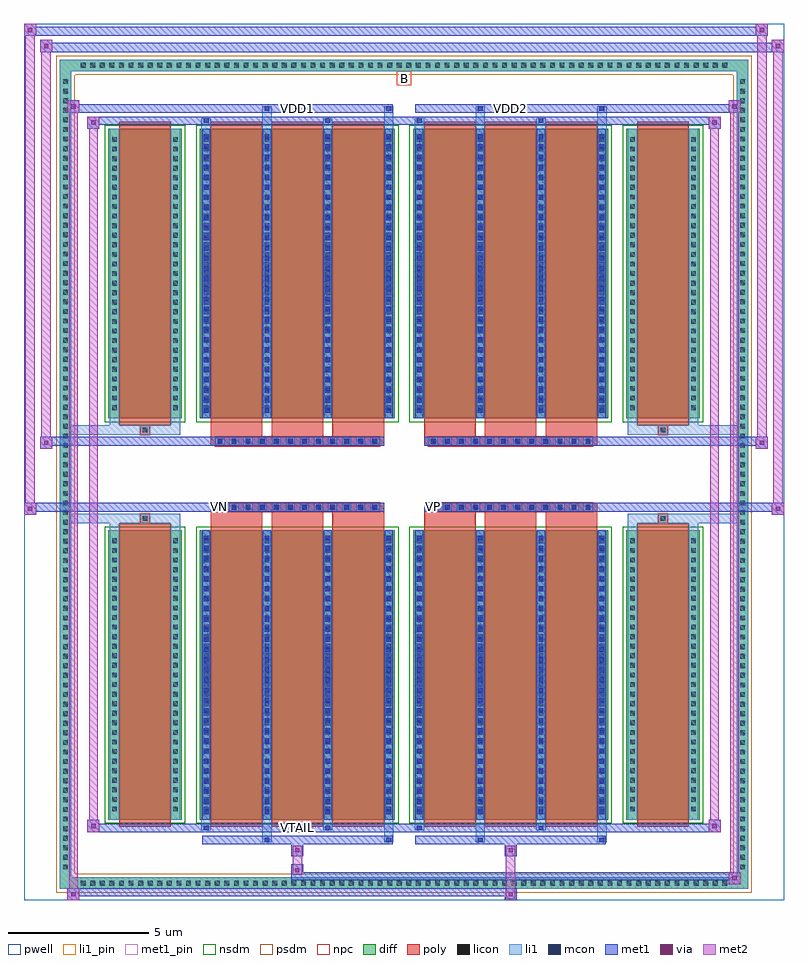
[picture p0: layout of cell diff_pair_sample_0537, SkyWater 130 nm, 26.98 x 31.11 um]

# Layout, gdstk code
import gdstk
lib = gdstk.Library(unit=1e-6, precision=5e-09)
def R(c, l, rs):  # rectangles x0, y0, x1, y1
    for r in rs: c.add(gdstk.rectangle(r[:2], r[2:], *l))
def A(c, l, x, y, w, h, nx, ny, dx, dy):  # array of equal rectangles
    R(c, l, [(x+i*dx, y+j*dy, x+i*dx+w, y+j*dy+h) for i in range(nx) for j in range(ny)])
def P(c, l, *ps):  # polygons
    for p in ps: c.add(gdstk.Polygon(p, *l))
pwell = (64, 44)
diff = (65, 20)
poly = (66, 20)
licon = (66, 44)
li1_pin = (67, 16)
li1 = (67, 20)
mcon = (67, 44)
met1_pin = (68, 16)
met1 = (68, 20)
via = (68, 44)
met2 = (69, 20)
nsdm = (93, 44)
psdm = (94, 20)
npc = (95, 20)

diff_pair_sample_0537 = lib.new_cell('diff_pair_sample_0537')
R(diff_pair_sample_0537, pwell, [(-13.49,-15.12,13.49,15.99), (-10.81,-13.31,-0.01,-0.805), (0.01,-13.31,10.81,-0.805), (-10.81,0.805,-0.01,13.31), (0.01,0.805,10.81,13.31)])
A(diff_pair_sample_0537, diff, -11.595, -14.72, 0.41, 0.41, 68, 2, 0.34, 29.03)
A(diff_pair_sample_0537, diff, -12.22, -14.145, 0.41, 0.41, 1, 83, 0, 0.34)
A(diff_pair_sample_0537, diff, 11.81, -14.145, 0.41, 0.41, 1, 83, 0, 0.34)
R(diff_pair_sample_0537, diff, [(-11.595,-14.72,11.595,-14.31), (-12.22,-14.145,-11.81,14.145), (11.81,-14.145,12.22,14.145), (-10.5,-12.265,-7.89,-1.985), (-7.25,-12.265,-0.32,-1.985), (0.32,-12.265,7.25,-1.985), (7.89,-12.265,10.5,-1.985), (-10.5,1.985,-7.89,12.265), (-7.25,1.985,-0.32,12.265), (0.32,1.985,7.25,12.265), (7.89,1.985,10.5,12.265), (-11.595,14.31,11.595,14.72)])
P(diff_pair_sample_0537, diff, [(12.22,14.72),(-12.22,14.72),(-12.22,-14.31),(-11.81,-14.31),(-11.81,14.31),(11.81,14.31),(11.81,-14.31),(-11.81,-14.31),(-12.22,-14.31),(-12.22,-14.72),(12.22,-14.72)])
A(diff_pair_sample_0537, poly, -6.86, -12.515, 1.83, 10.78, 3, 2, 2.16, 14.25)
A(diff_pair_sample_0537, poly, 0.71, -12.515, 1.83, 10.78, 3, 2, 2.16, 14.25)
A(diff_pair_sample_0537, poly, -6.86, -1.735, 1.83, 0.4, 3, 2, 2.16, 3.07)
A(diff_pair_sample_0537, poly, 0.71, -1.735, 1.83, 0.4, 3, 2, 2.16, 3.07)
A(diff_pair_sample_0537, poly, -6.7, -1.335, 0.33, 0.33, 12, 2, 0.5, 2.34)
A(diff_pair_sample_0537, poly, 0.87, -1.335, 0.33, 0.33, 12, 2, 0.5, 2.34)
R(diff_pair_sample_0537, poly, [(-10.11,-12.515,-8.28,-1.735), (8.28,-12.515,10.11,-1.735), (-9.36,-1.735,-9.03,-1.405), (-9.36,-1.735,-9.03,-1.405), (9.03,-1.735,9.36,-1.405), (9.03,-1.735,9.36,-1.405), (-6.86,-1.335,-0.71,-1.005), (0.71,-1.335,6.86,-1.005), (-6.86,1.005,-0.71,1.335), (0.71,1.005,6.86,1.335), (-9.36,1.405,-9.03,1.735), (-9.36,1.405,-9.03,1.735), (9.03,1.405,9.36,1.735), (9.03,1.405,9.36,1.735), (-10.11,1.735,-8.28,12.515), (8.28,1.735,10.11,12.515)])
A(diff_pair_sample_0537, licon, -11.475, -14.6, 0.17, 0.17, 68, 2, 0.34, 29.03)
A(diff_pair_sample_0537, licon, -12.1, -14.025, 0.17, 0.17, 1, 83, 0, 0.34)
A(diff_pair_sample_0537, licon, 11.93, -14.025, 0.17, 0.17, 1, 83, 0, 0.34)
A(diff_pair_sample_0537, licon, -10.36, -11.97, 0.17, 0.17, 1, 29, 0, 0.34)
A(diff_pair_sample_0537, licon, -8.2, -11.97, 0.17, 0.17, 1, 29, 0, 0.34)
A(diff_pair_sample_0537, licon, -7.11, -11.97, 0.17, 0.17, 4, 29, 2.16, 0.34)
A(diff_pair_sample_0537, licon, 0.46, -11.97, 0.17, 0.17, 4, 29, 2.16, 0.34)
A(diff_pair_sample_0537, licon, 8.03, -11.97, 0.17, 0.17, 1, 29, 0, 0.34)
A(diff_pair_sample_0537, licon, 10.19, -11.97, 0.17, 0.17, 1, 29, 0, 0.34)
A(diff_pair_sample_0537, licon, -6.62, -1.255, 0.17, 0.17, 12, 2, 0.5, 2.34)
A(diff_pair_sample_0537, licon, 0.95, -1.255, 0.17, 0.17, 12, 2, 0.5, 2.34)
A(diff_pair_sample_0537, licon, -10.36, 2.28, 0.17, 0.17, 1, 29, 0, 0.34)
A(diff_pair_sample_0537, licon, -8.2, 2.28, 0.17, 0.17, 1, 29, 0, 0.34)
A(diff_pair_sample_0537, licon, -7.11, 2.28, 0.17, 0.17, 4, 29, 2.16, 0.34)
A(diff_pair_sample_0537, licon, 0.46, 2.28, 0.17, 0.17, 4, 29, 2.16, 0.34)
A(diff_pair_sample_0537, licon, 8.03, 2.28, 0.17, 0.17, 1, 29, 0, 0.34)
A(diff_pair_sample_0537, licon, 10.19, 2.28, 0.17, 0.17, 1, 29, 0, 0.34)
R(diff_pair_sample_0537, licon, [(-9.28,-1.655,-9.11,-1.485), (9.11,-1.655,9.28,-1.485), (-9.28,1.485,-9.11,1.655), (9.11,1.485,9.28,1.655)])
R(diff_pair_sample_0537, li1_pin, [(-0.25,13.81,0.25,14.31)])
A(diff_pair_sample_0537, li1, -11.555, -14.68, 0.33, 0.33, 68, 2, 0.34, 29.03)
A(diff_pair_sample_0537, li1, -12.18, -14.105, 0.33, 0.33, 1, 83, 0, 0.34)
A(diff_pair_sample_0537, li1, 11.85, -14.105, 0.33, 0.33, 1, 83, 0, 0.34)
A(diff_pair_sample_0537, li1, -7.19, -12.265, 0.33, 10.28, 4, 2, 2.16, 14.25)
A(diff_pair_sample_0537, li1, 0.38, -12.265, 0.33, 10.28, 4, 2, 2.16, 14.25)
A(diff_pair_sample_0537, li1, -7.11, -12.07, 0.17, 0.17, 4, 28, 2.16, 0.36)
A(diff_pair_sample_0537, li1, -7.11, -12.07, 0.17, 9.89, 4, 2, 2.16, 14.25)
A(diff_pair_sample_0537, li1, 0.46, -12.07, 0.17, 0.17, 4, 28, 2.16, 0.36)
A(diff_pair_sample_0537, li1, 0.46, -12.07, 0.17, 9.89, 4, 2, 2.16, 14.25)
A(diff_pair_sample_0537, li1, -10.44, -12.05, 0.33, 0.33, 1, 29, 0, 0.34)
A(diff_pair_sample_0537, li1, -8.28, -12.05, 0.33, 0.33, 1, 29, 0, 0.34)
A(diff_pair_sample_0537, li1, -7.19, -12.05, 0.33, 0.33, 4, 29, 2.16, 0.34)
A(diff_pair_sample_0537, li1, 0.38, -12.05, 0.33, 0.33, 4, 29, 2.16, 0.34)
A(diff_pair_sample_0537, li1, 7.95, -12.05, 0.33, 0.33, 1, 29, 0, 0.34)
A(diff_pair_sample_0537, li1, 10.11, -12.05, 0.33, 0.33, 1, 29, 0, 0.34)
A(diff_pair_sample_0537, li1, -6.7, -1.335, 0.33, 0.33, 12, 2, 0.5, 2.34)
A(diff_pair_sample_0537, li1, 0.87, -1.335, 0.33, 0.33, 12, 2, 0.5, 2.34)
A(diff_pair_sample_0537, li1, -7.11, 2.18, 0.17, 0.17, 4, 28, 2.16, 0.36)
A(diff_pair_sample_0537, li1, 0.46, 2.18, 0.17, 0.17, 4, 28, 2.16, 0.36)
A(diff_pair_sample_0537, li1, -10.44, 2.2, 0.33, 0.33, 1, 29, 0, 0.34)
A(diff_pair_sample_0537, li1, -8.28, 2.2, 0.33, 0.33, 1, 29, 0, 0.34)
A(diff_pair_sample_0537, li1, -7.19, 2.2, 0.33, 0.33, 4, 29, 2.16, 0.34)
A(diff_pair_sample_0537, li1, 0.38, 2.2, 0.33, 0.33, 4, 29, 2.16, 0.34)
A(diff_pair_sample_0537, li1, 7.95, 2.2, 0.33, 0.33, 1, 29, 0, 0.34)
A(diff_pair_sample_0537, li1, 10.11, 2.2, 0.33, 0.33, 1, 29, 0, 0.34)
R(diff_pair_sample_0537, li1, [(-12.22,-14.72,-11.81,-14.31), (-12.22,-14.72,-11.81,-14.31), (-11.81,-14.72,11.81,-14.31), (11.81,-14.72,12.22,-14.31), (11.81,-14.72,12.22,-14.31), (-12.22,-14.31,-11.81,14.31), (11.81,-14.31,12.22,14.31), (-5.03,-13.07,-4.7,-12.265), (-4.95,-13.07,-4.78,-12.9), (-0.71,-13.07,-0.38,-12.265), (-0.63,-13.07,-0.46,-12.9), (2.54,-13.07,2.87,-12.265), (2.62,-13.07,2.79,-12.9), (6.86,-13.07,7.19,-12.265), (6.94,-13.07,7.11,-12.9), (-7.19,-12.64,-6.86,-12.265), (-7.11,-12.64,-6.94,-12.47), (-2.87,-12.64,-2.54,-12.265), (-2.79,-12.64,-2.62,-12.47), (0.38,-12.64,0.71,-12.265), (0.46,-12.64,0.63,-12.47), (4.7,-12.64,5.03,-12.265), (4.78,-12.64,4.95,-12.47), (-10.44,-12.265,-10.11,-1.985), (-8.28,-12.265,-7.95,-1.985), (7.95,-12.265,8.28,-1.985), (10.11,-12.265,10.44,-1.985), (-10.44,-1.985,-10.11,-1.405), (-8.28,-1.985,-7.95,-1.405), (7.95,-1.985,8.28,-1.405), (10.11,-1.985,10.44,-1.405), (-12.22,-1.735,-9.36,-1.405), (-10.44,-1.735,-9.36,-1.405), (-9.36,-1.735,-9.03,-1.405), (-9.03,-1.735,-7.95,-1.405), (7.95,-1.735,9.03,-1.405), (9.03,-1.735,9.36,-1.405), (9.03,-1.735,12.22,-1.405), (9.36,-1.735,10.44,-1.405), (-12.22,1.405,-9.36,1.735), (-10.44,1.405,-9.36,1.735), (-10.44,1.405,-10.11,1.985), (-9.36,1.405,-9.03,1.735), (-9.03,1.405,-7.95,1.735), (-8.28,1.405,-7.95,1.985), (7.95,1.405,9.03,1.735), (7.95,1.405,8.28,1.985), (9.03,1.405,9.36,1.735), (9.03,1.405,12.22,1.735), (9.36,1.405,10.44,1.735), (10.11,1.405,10.44,1.985), (-10.44,1.985,-10.11,12.265), (-8.28,1.985,-7.95,12.265), (7.95,1.985,8.28,12.265), (10.11,1.985,10.44,12.265), (-7.19,12.265,-6.86,12.64), (-5.03,12.265,-4.7,13.07), (-2.87,12.265,-2.54,12.64), (-0.71,12.265,-0.38,13.07), (0.38,12.265,0.71,12.64), (2.54,12.265,2.87,13.07), (4.7,12.265,5.03,12.64), (6.86,12.265,7.19,13.07), (-7.11,12.47,-6.94,12.64), (-2.79,12.47,-2.62,12.64), (0.46,12.47,0.63,12.64), (4.78,12.47,4.95,12.64), (-4.95,12.9,-4.78,13.07), (-0.63,12.9,-0.46,13.07), (2.62,12.9,2.79,13.07), (6.94,12.9,7.11,13.07), (-12.22,14.31,-11.81,14.72), (-12.22,14.31,-11.81,14.72), (-11.81,14.31,11.81,14.72), (11.81,14.31,12.22,14.72), (11.81,14.31,12.22,14.72)])
A(diff_pair_sample_0537, mcon, -7.11, -12.07, 0.17, 0.17, 4, 28, 2.16, 0.36)
A(diff_pair_sample_0537, mcon, 0.46, -12.07, 0.17, 0.17, 4, 28, 2.16, 0.36)
A(diff_pair_sample_0537, mcon, -6.62, -1.255, 0.17, 0.17, 12, 2, 0.5, 2.34)
A(diff_pair_sample_0537, mcon, 0.95, -1.255, 0.17, 0.17, 12, 2, 0.5, 2.34)
A(diff_pair_sample_0537, mcon, -7.11, 2.18, 0.17, 0.17, 4, 28, 2.16, 0.36)
A(diff_pair_sample_0537, mcon, 0.46, 2.18, 0.17, 0.17, 4, 28, 2.16, 0.36)
R(diff_pair_sample_0537, mcon, [(-4.95,-13.07,-4.78,-12.9), (-0.63,-13.07,-0.46,-12.9), (2.62,-13.07,2.79,-12.9), (6.94,-13.07,7.11,-12.9), (-7.11,-12.64,-6.94,-12.47), (-2.79,-12.64,-2.62,-12.47), (0.46,-12.64,0.63,-12.47), (4.78,-12.64,4.95,-12.47), (-7.11,12.47,-6.94,12.64), (-2.79,12.47,-2.62,12.64), (0.46,12.47,0.63,12.64), (4.78,12.47,4.95,12.64), (-4.95,12.9,-4.78,13.07), (-0.63,12.9,-0.46,13.07), (2.62,12.9,2.79,13.07), (6.94,12.9,7.11,13.07)])
R(diff_pair_sample_0537, met1_pin, [(-3.92,-12.68,-3.65,-12.41), (-6.67,-1.295,-6.4,-1.025), (0.9,-1.295,1.17,-1.025), (-3.92,12.86,-3.65,13.13), (3.65,12.86,3.92,13.13)])
A(diff_pair_sample_0537, met1, -7.17, -12.265, 0.29, 10.28, 4, 2, 2.16, 14.25)
A(diff_pair_sample_0537, met1, 0.4, -12.265, 0.29, 10.28, 4, 2, 2.16, 14.25)
A(diff_pair_sample_0537, met1, -7.17, -12.13, 0.29, 0.29, 4, 28, 2.16, 0.36)
A(diff_pair_sample_0537, met1, 0.4, -12.13, 0.29, 0.29, 4, 28, 2.16, 0.36)
A(diff_pair_sample_0537, met1, -6.68, -1.315, 0.29, 0.29, 12, 2, 0.5, 2.34)
A(diff_pair_sample_0537, met1, 0.89, -1.315, 0.29, 0.29, 12, 2, 0.5, 2.34)
A(diff_pair_sample_0537, met1, -7.17, 2.12, 0.29, 0.29, 4, 28, 2.16, 0.36)
A(diff_pair_sample_0537, met1, 0.4, 2.12, 0.29, 0.29, 4, 28, 2.16, 0.36)
R(diff_pair_sample_0537, met1, [(-11.95,-15.12,-11.52,-14.69), (3.57,-15.12,4,-14.69), (-11.95,-14.98,4,-14.69), (11.52,-14.55,11.95,-14.12), (-4,-14.41,11.95,-14.12), (-4,-14.27,-3.57,-13.84), (-4,-13.56,-3.57,-13.13), (3.57,-13.56,4,-13.13), (-7.17,-13.13,-0.4,-12.84), (-5.01,-13.13,-4.72,-12.84), (-0.69,-13.13,-0.4,-12.84), (0.4,-13.13,7.17,-12.84), (2.56,-13.13,2.85,-12.84), (6.88,-13.13,7.17,-12.84), (-11.24,-12.7,-10.81,-12.27), (-11.24,-12.7,-7.17,-12.41), (-7.17,-12.7,-6.88,-12.41), (-7.17,-12.7,-0.4,-12.41), (-2.85,-12.7,-2.56,-12.41), (-0.4,-12.7,0.4,-12.41), (0.4,-12.7,0.69,-12.41), (0.4,-12.7,7.17,-12.41), (4.72,-12.7,5.01,-12.41), (7.17,-12.7,11.24,-12.41), (10.81,-12.7,11.24,-12.27), (-13.49,-1.435,-13.06,-1.005), (13.06,-1.435,13.49,-1.005), (-13.49,-1.335,-0.71,-1.005), (-6.86,-1.335,-0.71,-1.005), (0.71,-1.335,6.86,-1.005), (0.71,-1.335,13.49,-1.005), (-12.92,0.905,-12.49,1.335), (12.49,0.905,12.92,1.335), (-12.92,1.005,-6.86,1.335), (-6.86,1.005,-0.71,1.335), (0.71,1.005,6.86,1.335), (6.86,1.005,12.92,1.335), (-11.24,12.27,-10.81,12.7), (10.81,12.27,11.24,12.7), (-11.24,12.41,-7.17,12.7), (-7.17,12.41,-6.88,12.7), (-7.17,12.41,-0.4,12.7), (-2.85,12.41,-2.56,12.7), (-0.4,12.41,0.4,12.7), (0.4,12.41,0.69,12.7), (0.4,12.41,7.17,12.7), (4.72,12.41,5.01,12.7), (7.17,12.41,11.24,12.7), (-11.95,12.84,-11.52,13.27), (-11.95,12.84,-7.17,13.13), (-7.17,12.84,-0.4,13.13), (-5.01,12.84,-4.72,13.13), (-0.69,12.84,-0.4,13.13), (0.4,12.84,7.17,13.13), (2.56,12.84,2.85,13.13), (6.88,12.84,7.17,13.13), (7.17,12.84,11.95,13.13), (11.52,12.84,11.95,13.27), (-12.92,14.99,-12.49,15.42), (-12.92,14.99,-10.81,15.32), (-10.81,14.99,10.81,15.32), (10.81,14.99,13.49,15.32), (13.06,14.99,13.49,15.42), (-13.49,15.56,-13.06,15.99), (-13.49,15.56,-10.81,15.89), (-10.81,15.56,10.81,15.89), (10.81,15.56,12.92,15.89), (12.49,15.56,12.92,15.99)])
R(diff_pair_sample_0537, via, [(-11.81,-14.98,-11.66,-14.83), (3.71,-14.98,3.86,-14.83), (11.66,-14.41,11.81,-14.26), (-3.86,-14.13,-3.71,-13.98), (-3.86,-13.42,-3.71,-13.27), (3.71,-13.42,3.86,-13.27), (-11.1,-12.56,-10.95,-12.41), (10.95,-12.56,11.1,-12.41), (-13.35,-1.295,-13.2,-1.145), (13.2,-1.295,13.35,-1.145), (-12.78,1.045,-12.63,1.195), (12.63,1.045,12.78,1.195), (-11.1,12.41,-10.95,12.56), (10.95,12.41,11.1,12.56), (-11.81,12.98,-11.66,13.13), (11.66,12.98,11.81,13.13), (-12.78,15.13,-12.63,15.28), (13.2,15.13,13.35,15.28), (-13.35,15.7,-13.2,15.85), (12.63,15.7,12.78,15.85)])
R(diff_pair_sample_0537, met2, [(-11.95,-15.12,-11.52,-14.69), (-11.88,-15.12,-11.59,13.27), (-11.59,-15.12,-11.52,-14.69), (-11.9,-15.07,-11.57,-14.74), (3.62,-15.07,3.95,-14.74), (3.62,-14.74,3.95,-13.51), (11.52,-14.55,11.95,-14.12), (11.59,-14.55,11.88,13.27), (11.88,-14.55,11.95,-14.12), (11.57,-14.5,11.9,-14.17), (-3.95,-14.22,-3.62,-13.89), (-3.95,-13.89,-3.62,-13.51), (-3.95,-13.51,-3.62,-13.18), (3.62,-13.51,3.95,-13.18), (-11.24,-12.7,-10.81,-12.27), (-11.17,-12.7,-10.88,12.7), (-10.88,-12.7,-10.81,-12.27), (10.81,-12.7,11.24,-12.27), (10.88,-12.7,11.17,12.7), (11.17,-12.7,11.24,-12.27), (-11.19,-12.65,-10.86,-12.32), (10.86,-12.65,11.19,-12.32), (-13.49,-1.435,-13.06,-1.005), (-13.44,-1.435,-13.11,15.99), (-13.11,-1.435,-13.06,-1.005), (13.06,-1.435,13.49,-1.005), (13.11,-1.435,13.44,15.42), (13.44,-1.435,13.49,-1.005), (-13.44,-1.385,-13.11,-1.055), (13.11,-1.385,13.44,-1.055), (-12.92,0.905,-12.49,1.335), (-12.87,0.905,-12.54,15.42), (-12.54,0.905,-12.49,1.335), (12.49,0.905,12.92,1.335), (12.54,0.905,12.87,15.99), (12.87,0.905,12.92,1.335), (-12.87,0.955,-12.54,1.285), (12.54,0.955,12.87,1.285), (-11.24,12.27,-10.81,12.7), (-10.88,12.27,-10.81,12.7), (10.81,12.27,11.24,12.7), (11.17,12.27,11.24,12.7), (-11.19,12.32,-10.86,12.65), (10.86,12.32,11.19,12.65), (-11.95,12.84,-11.52,13.27), (-11.59,12.84,-11.52,13.27), (11.52,12.84,11.95,13.27), (11.88,12.84,11.95,13.27), (-11.9,12.89,-11.57,13.22), (11.57,12.89,11.9,13.22), (-12.92,14.99,-12.49,15.42), (-12.54,14.99,-12.49,15.42), (13.06,14.99,13.49,15.42), (13.44,14.99,13.49,15.42), (-12.87,15.04,-12.54,15.37), (13.11,15.04,13.44,15.37), (-13.49,15.56,-13.06,15.99), (-13.11,15.56,-13.06,15.99), (12.49,15.56,12.92,15.99), (12.87,15.56,12.92,15.99), (-13.44,15.61,-13.11,15.94), (12.54,15.61,12.87,15.94)])
R(diff_pair_sample_0537, nsdm, [(-10.63,-12.395,-7.76,-1.855), (-7.38,-12.395,-0.19,-1.855), (0.19,-12.395,7.38,-1.855), (7.76,-12.395,10.63,-1.855), (-10.63,1.855,-7.76,12.395), (-7.38,1.855,-0.19,12.395), (0.19,1.855,7.38,12.395), (7.76,1.855,10.63,12.395)])
P(diff_pair_sample_0537, psdm, [(12.35,14.85),(-12.35,14.85),(-12.35,-14.18),(-11.68,-14.18),(-11.68,14.18),(11.68,14.18),(11.68,-14.18),(-11.68,-14.18),(-12.35,-14.18),(-12.35,-14.85),(12.35,-14.85)])
A(diff_pair_sample_0537, npc, -6.72, -1.355, 0.37, 0.37, 12, 2, 0.5, 2.34)
A(diff_pair_sample_0537, npc, 0.85, -1.355, 0.37, 0.37, 12, 2, 0.5, 2.34)
R(diff_pair_sample_0537, npc, [(-9.38,-1.755,-9.01,-1.385), (9.01,-1.755,9.38,-1.385), (-6.72,-1.355,-5.85,-0.985), (-6.72,-1.355,-5.85,-0.985), (-6.22,-1.355,-5.35,-0.985), (-6.22,-1.355,-5.35,-0.985), (-5.72,-1.355,-4.85,-0.985), (-5.72,-1.355,-4.85,-0.985), (-5.22,-1.355,-4.35,-0.985), (-5.22,-1.355,-4.35,-0.985), (-4.72,-1.355,-3.85,-0.985), (-4.72,-1.355,-3.85,-0.985), (-4.22,-1.355,-3.35,-0.985), (-4.22,-1.355,-3.35,-0.985), (-3.72,-1.355,-2.85,-0.985), (-3.72,-1.355,-2.85,-0.985), (-3.22,-1.355,-2.35,-0.985), (-3.22,-1.355,-2.35,-0.985), (-2.72,-1.355,-1.85,-0.985), (-2.72,-1.355,-1.85,-0.985), (-2.22,-1.355,-1.35,-0.985), (-2.22,-1.355,-1.35,-0.985), (-1.72,-1.355,-0.85,-0.985), (-1.72,-1.355,-0.85,-0.985), (0.85,-1.355,1.72,-0.985), (0.85,-1.355,1.72,-0.985), (1.35,-1.355,2.22,-0.985), (1.35,-1.355,2.22,-0.985), (1.85,-1.355,2.72,-0.985), (1.85,-1.355,2.72,-0.985), (2.35,-1.355,3.22,-0.985), (2.35,-1.355,3.22,-0.985), (2.85,-1.355,3.72,-0.985), (2.85,-1.355,3.72,-0.985), (3.35,-1.355,4.22,-0.985), (3.35,-1.355,4.22,-0.985), (3.85,-1.355,4.72,-0.985), (3.85,-1.355,4.72,-0.985), (4.35,-1.355,5.22,-0.985), (4.35,-1.355,5.22,-0.985), (4.85,-1.355,5.72,-0.985), (4.85,-1.355,5.72,-0.985), (5.35,-1.355,6.22,-0.985), (5.35,-1.355,6.22,-0.985), (5.85,-1.355,6.72,-0.985), (5.85,-1.355,6.72,-0.985), (-6.72,0.985,-5.85,1.355), (-6.72,0.985,-5.85,1.355), (-6.22,0.985,-5.35,1.355), (-6.22,0.985,-5.35,1.355), (-5.72,0.985,-4.85,1.355), (-5.72,0.985,-4.85,1.355), (-5.22,0.985,-4.35,1.355), (-5.22,0.985,-4.35,1.355), (-4.72,0.985,-3.85,1.355), (-4.72,0.985,-3.85,1.355), (-4.22,0.985,-3.35,1.355), (-4.22,0.985,-3.35,1.355), (-3.72,0.985,-2.85,1.355), (-3.72,0.985,-2.85,1.355), (-3.22,0.985,-2.35,1.355), (-3.22,0.985,-2.35,1.355), (-2.72,0.985,-1.85,1.355), (-2.72,0.985,-1.85,1.355), (-2.22,0.985,-1.35,1.355), (-2.22,0.985,-1.35,1.355), (-1.72,0.985,-0.85,1.355), (-1.72,0.985,-0.85,1.355), (0.85,0.985,1.72,1.355), (0.85,0.985,1.72,1.355), (1.35,0.985,2.22,1.355), (1.35,0.985,2.22,1.355), (1.85,0.985,2.72,1.355), (1.85,0.985,2.72,1.355), (2.35,0.985,3.22,1.355), (2.35,0.985,3.22,1.355), (2.85,0.985,3.72,1.355), (2.85,0.985,3.72,1.355), (3.35,0.985,4.22,1.355), (3.35,0.985,4.22,1.355), (3.85,0.985,4.72,1.355), (3.85,0.985,4.72,1.355), (4.35,0.985,5.22,1.355), (4.35,0.985,5.22,1.355), (4.85,0.985,5.72,1.355), (4.85,0.985,5.72,1.355), (5.35,0.985,6.22,1.355), (5.35,0.985,6.22,1.355), (5.85,0.985,6.72,1.355), (5.85,0.985,6.72,1.355), (-9.38,1.385,-9.01,1.755), (9.01,1.385,9.38,1.755)])
diff_pair_sample_0537.add(gdstk.Label('VTAIL', (-3.785,-12.545), layer=68, texttype=5))
diff_pair_sample_0537.add(gdstk.Label('VN', (-6.535,-1.16), layer=68, texttype=5))
diff_pair_sample_0537.add(gdstk.Label('VP', (1.035,-1.16), layer=68, texttype=5))
diff_pair_sample_0537.add(gdstk.Label('B', (0,14.06), layer=67, texttype=5))
diff_pair_sample_0537.add(gdstk.Label('VDD2', (3.785,12.995), layer=68, texttype=5))
diff_pair_sample_0537.add(gdstk.Label('VDD1', (-3.785,12.995), layer=68, texttype=5))

lib.write_gds('diff_pair_sample_0537.gds')
